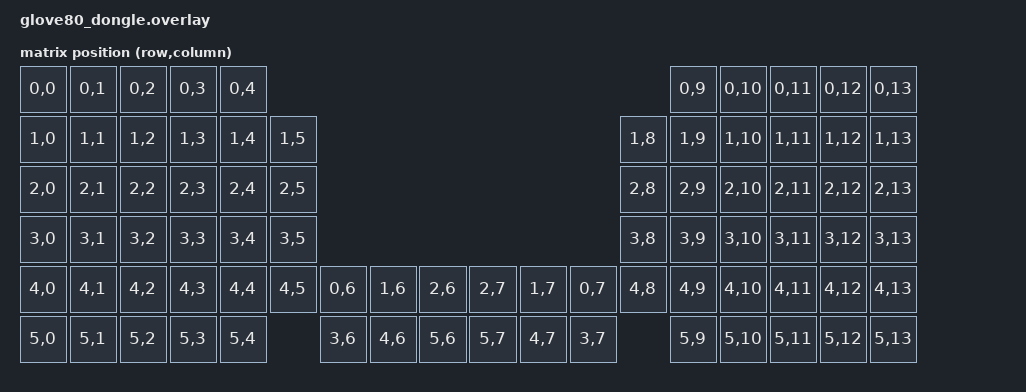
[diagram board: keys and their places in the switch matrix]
#include <dt-bindings/led/led.h>
#include <dt-bindings/zmk/matrix_transform.h>
#include <dt-bindings/zmk/battery_reporting.h>
#include "glove80-layouts.dtsi"

&physical_layout0 {
    transform = <&matrix_transform0>;
};

&pinctrl {
    spi3_default: spi3_default {
        group1 {
            psels = <NRF_PSEL(SPIM_MOSI, 0, 27)>; // WS2812_VEXT_DATA
        };
    };

    spi3_sleep: spi3_sleep {
        group1 {
            psels = <NRF_PSEL(SPIM_MOSI, 0, 27)>;
            low-power-enable;
        };
    };
};

&spi3 {
    compatible = "nordic,nrf-spim";
    status = "okay";

    pinctrl-0 = <&spi3_default>;
    pinctrl-1 = <&spi3_sleep>;
    pinctrl-names = "default", "sleep";

    led_strip: ws2812@0 {
        compatible = "worldsemi,ws2812-spi";

        /* SPI */
        reg = <0>; /* ignored, but necessary for SPI bindings */
        spi-max-frequency = <4000000>;

        /* WS2812 */
        chain-length = <40>; /* 40 keys have underglow at the moment */
        spi-one-frame = <0x70>;
        spi-zero-frame = <0x40>;

        color-mapping = <LED_COLOR_ID_GREEN LED_COLOR_ID_RED LED_COLOR_ID_BLUE>;
    };
};

/ {
    chosen {
        zmk,kscan = &mock_kscan;
        zmk,physical-layout = &physical_layout0;
        zmk,underglow = &led_strip;
        zmk,battery-reporting = &battery_reporting;
    };
    
    mock_kscan: mock_kscan_0 {
        compatible = "zmk,kscan-mock";
        columns = <0>;
        rows = <0>;
        events = <0>;
    };

    matrix_transform0: keymap_transform_0 {
        compatible = "zmk,matrix-transform";
        columns = <14>;
        rows = <6>;
        map = <
            RC(0,0) RC(0,1) RC(0,2) RC(0,3) RC(0,4)                                                                    RC(0,9) RC(0,10) RC(0,11) RC(0,12) RC(0,13)
            RC(1,0) RC(1,1) RC(1,2) RC(1,3) RC(1,4) RC(1,5)                                                    RC(1,8) RC(1,9) RC(1,10) RC(1,11) RC(1,12) RC(1,13)
            RC(2,0) RC(2,1) RC(2,2) RC(2,3) RC(2,4) RC(2,5)                                                    RC(2,8) RC(2,9) RC(2,10) RC(2,11) RC(2,12) RC(2,13)
            RC(3,0) RC(3,1) RC(3,2) RC(3,3) RC(3,4) RC(3,5)                                                    RC(3,8) RC(3,9) RC(3,10) RC(3,11) RC(3,12) RC(3,13)
            RC(4,0) RC(4,1) RC(4,2) RC(4,3) RC(4,4) RC(4,5) RC(0,6) RC(1,6) RC(2,6)   RC(2,7) RC(1,7)  RC(0,7) RC(4,8) RC(4,9) RC(4,10) RC(4,11) RC(4,12) RC(4,13)
            RC(5,0) RC(5,1) RC(5,2) RC(5,3) RC(5,4)         RC(3,6) RC(4,6) RC(5,6)   RC(5,7) RC(4,7)  RC(3,7)         RC(5,9) RC(5,10) RC(5,11) RC(5,12) RC(5,13)
        >;
    };

    EXT_POWER {
        compatible = "zmk,ext-power-generic";
        control-gpios = <&gpio0 31 GPIO_ACTIVE_HIGH>; /* WS2812_CE */
        init-delay-ms = <100>;
    };

    battery_reporting: battery_reporting {
        compatible = "zmk,battery-reporting";

        dongle {
            hidden;
        };
        left {
            // display-name defaults to text version of `cpf` value.
            cpf = <ZMK_CPF_DESC_LEFT>;
        };
        right {
            cpf = <ZMK_CPF_DESC_RIGHT>;
        };
    };
};
